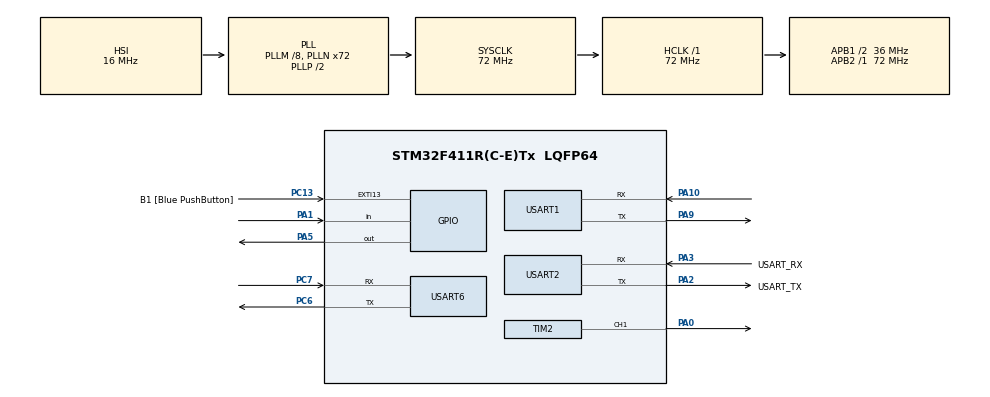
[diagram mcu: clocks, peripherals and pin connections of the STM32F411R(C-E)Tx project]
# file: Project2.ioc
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Mcu.Family=STM32F4
Mcu.Name=STM32F411R(C-E)Tx
Mcu.Package=LQFP64
NVIC.PriorityGroup=NVIC_PRIORITYGROUP_0
PA0-WKUP.Signal=S_TIM2_CH1_ETR
PA1.Signal=GPIO_Input
PA10.Mode=Asynchronous
PA10.Signal=USART1_RX
PA13.GPIO_Label=TMS
PA13.Mode=Serial_Wire
PA13.Signal=SYS_JTMS-SWDIO
PA14.GPIO_Label=TCK
PA14.Mode=Serial_Wire
PA14.Signal=SYS_JTCK-SWCLK
PA2.GPIO_Label=USART_TX
PA2.Mode=Asynchronous
PA2.Signal=USART2_TX
PA3.GPIO_Label=USART_RX
PA3.Mode=Asynchronous
PA3.Signal=USART2_RX
PA5.Signal=GPIO_Output
PA9.Mode=Asynchronous
PA9.Signal=USART1_TX
PB3.GPIO_Label=SWO
PB3.Signal=SYS_JTDO-SWO
PC13-ANTI_TAMP.GPIO_Label=B1 [Blue PushButton]
PC13-ANTI_TAMP.GPIO_ModeDefaultEXTI=GPIO_MODE_IT_FALLING
PC13-ANTI_TAMP.Signal=GPXTI13
PC14-OSC32_IN.Signal=RCC_OSC32_IN
PC15-OSC32_OUT.Signal=RCC_OSC32_OUT
PC6.Mode=Asynchronous
PC6.Signal=USART6_TX
PC7.Mode=Asynchronous
PC7.Signal=USART6_RX
PH0\ -\ OSC_IN.Mode=HSE-External-Oscillator
PH0\ -\ OSC_IN.Signal=RCC_OSC_IN
PH1\ -\ OSC_OUT.Mode=HSE-External-Oscillator
PH1\ -\ OSC_OUT.Signal=RCC_OSC_OUT
ProjectManager.HeapSize=0x200
ProjectManager.StackSize=0x400
ProjectManager.TargetToolchain=STM32CubeIDE
RCC.48MHZClocksFreq_Value=36000000
RCC.AHBFreq_Value=72000000
RCC.APB1CLKDivider=RCC_HCLK_DIV2
RCC.APB1Freq_Value=36000000
RCC.APB1TimFreq_Value=72000000
RCC.APB2Freq_Value=72000000
RCC.APB2TimFreq_Value=72000000
RCC.CortexFreq_Value=72000000
RCC.FLatency-AdvancedSettings=FLASH_LATENCY_2
RCC.HCLKFreq_Value=72000000
RCC.HSE_VALUE=8000000
RCC.HSI_VALUE=16000000
RCC.LSE_VALUE=32768
RCC.PLLM=8
RCC.PLLN=72
RCC.SYSCLKFreq_VALUE=72000000
RCC.SYSCLKSource=RCC_SYSCLKSOURCE_PLLCLK
RCC.VCOOutputFreq_Value=144000000
SH.S_TIM2_CH1_ETR.0=TIM2_CH1,PWM Generation1 CH1
TIM2.Channel-PWM\ Generation1\ CH1=TIM_CHANNEL_1
TIM2.Period=99
TIM2.Prescaler=3599
USART1.VirtualMode=VM_ASYNC
USART2.VirtualMode=VM_ASYNC
USART6.VirtualMode=VM_ASYNC
VP_TIM2_VS_ClockSourceINT.Mode=Internal
board=NUCLEO-F411RE

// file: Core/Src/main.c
/* USER CODE BEGIN Header */
/**
  ******************************************************************************
  * @file           : main.c
  * @brief          : Main program body
  ******************************************************************************
  * @attention
  *
  * <h2><center>&copy; Copyright (c) 2021 STMicroelectronics.
  * All rights reserved.</center></h2>
  *
  * This software component is licensed by ST under BSD 3-Clause license,
  * the "License"; You may not use this file except in compliance with the
  * License. You may obtain a copy of the License at:
  *                        opensource.org/licenses/BSD-3-Clause
  *
  ******************************************************************************
  */
/* USER CODE END Header */
#include "main.h"

TIM_HandleTypeDef htim2;

UART_HandleTypeDef huart1;
UART_HandleTypeDef huart2;
UART_HandleTypeDef huart6;

void SystemClock_Config(void);
static void MX_GPIO_Init(void);
static void MX_USART2_UART_Init(void);
static void MX_TIM2_Init(void);
static void MX_USART1_UART_Init(void);
static void MX_USART6_UART_Init(void);

/* USER CODE BEGIN 0 */
void buzzer_on(void){
	htim2.Instance->CCR1 = 80;
}
void buzzer_off(void){
	htim2.Instance->CCR1 = 0;
}
/* USER CODE END 0 */

int main(void)
{

  /* MCU Configuration--------------------------------------------------------*/

  /* Reset of all peripherals, Initializes the Flash interface and the Systick. */

	HAL_Init();

  /* Configure the system clock */
  SystemClock_Config();

  /* Initialize all configured peripherals */
  MX_GPIO_Init();
  MX_USART2_UART_Init();
  MX_TIM2_Init();
  MX_USART1_UART_Init();
  MX_USART6_UART_Init();
  /* USER CODE BEGIN 2 */
  HAL_TIM_PWM_Start(&htim2, TIM_CHANNEL_1);
  /* USER CODE END 2 */

  /* Infinite loop */
  /* USER CODE BEGIN WHILE */
  int data= 1;
  char output[50];
  char d;
  while (1)
  {
//	  if (HAL_GPIO_ReadPin(GPIOA, GPIO_PIN_1) == 1)
//	  	  {
//	  		  while(HAL_GPIO_ReadPin(GPIOA, GPIO_PIN_1) == 1){
//	  			  HAL_UART_Transmit(&huart2, "H\n\r", 1, 100);
//	  		  	  HAL_Delay(1000);
//	  		  }
//	  	  }else{
//	  		HAL_UART_Transmit(&huart2, "L\n\r", 1, 100);
//	  		HAL_Delay(1000);
//	  	  }
	  //HAL_UART_Transmit(&huart2, 'A', 1, 100);
//	  HAL_UART_Transmit(&huart6, "a", strlen("a"), 100);
	  HAL_Delay(50);
	if (HAL_GPIO_ReadPin(GPIOA, GPIO_PIN_1)){

//		buzzer_on();
		HAL_GPIO_WritePin(GPIOA, GPIO_PIN_5, GPIO_PIN_SET);
		sprintf(output,"%d",data);
		data++;
		HAL_UART_Transmit(&huart6, &output, strlen(output), 100);
		while(HAL_GPIO_ReadPin(GPIOA, GPIO_PIN_1));
		HAL_Delay(10);
	}
	else{
		//buzzer_off();
		HAL_GPIO_WritePin(GPIOA, GPIO_PIN_5, GPIO_PIN_RESET);
		HAL_Delay(10);
	}

    /* USER CODE END WHILE */

  }
}

void SystemClock_Config(void)
{
  RCC_OscInitTypeDef RCC_OscInitStruct = {0};
  RCC_ClkInitTypeDef RCC_ClkInitStruct = {0};

  /** Configure the main internal regulator output voltage
  */
  __HAL_RCC_PWR_CLK_ENABLE();
  __HAL_PWR_VOLTAGESCALING_CONFIG(PWR_REGULATOR_VOLTAGE_SCALE1);
  /** Initializes the RCC Oscillators according to the specified parameters
  * in the RCC_OscInitTypeDef structure.
  */
  RCC_OscInitStruct.OscillatorType = RCC_OSCILLATORTYPE_HSI;
  RCC_OscInitStruct.HSIState = RCC_HSI_ON;
  RCC_OscInitStruct.HSICalibrationValue = RCC_HSICALIBRATION_DEFAULT;
  RCC_OscInitStruct.PLL.PLLState = RCC_PLL_ON;
  RCC_OscInitStruct.PLL.PLLSource = RCC_PLLSOURCE_HSI;
  RCC_OscInitStruct.PLL.PLLM = 8;
  RCC_OscInitStruct.PLL.PLLN = 72;
  RCC_OscInitStruct.PLL.PLLP = RCC_PLLP_DIV2;
  RCC_OscInitStruct.PLL.PLLQ = 4;
  if (HAL_RCC_OscConfig(&RCC_OscInitStruct) != HAL_OK)
  {
    Error_Handler();
  }
  /** Initializes the CPU, AHB and APB buses clocks
  */
  RCC_ClkInitStruct.ClockType = RCC_CLOCKTYPE_HCLK|RCC_CLOCKTYPE_SYSCLK
                              |RCC_CLOCKTYPE_PCLK1|RCC_CLOCKTYPE_PCLK2;
  RCC_ClkInitStruct.SYSCLKSource = RCC_SYSCLKSOURCE_PLLCLK;
  RCC_ClkInitStruct.AHBCLKDivider = RCC_SYSCLK_DIV1;
  RCC_ClkInitStruct.APB1CLKDivider = RCC_HCLK_DIV2;
  RCC_ClkInitStruct.APB2CLKDivider = RCC_HCLK_DIV1;

  if (HAL_RCC_ClockConfig(&RCC_ClkInitStruct, FLASH_LATENCY_2) != HAL_OK)
  {
    Error_Handler();
  }
}

static void MX_TIM2_Init(void)
{

  TIM_ClockConfigTypeDef sClockSourceConfig = {0};
  TIM_MasterConfigTypeDef sMasterConfig = {0};
  TIM_OC_InitTypeDef sConfigOC = {0};

  htim2.Instance = TIM2;
  htim2.Init.Prescaler = 3599;
  htim2.Init.CounterMode = TIM_COUNTERMODE_UP;
  htim2.Init.Period = 99;
  htim2.Init.ClockDivision = TIM_CLOCKDIVISION_DIV1;
  htim2.Init.AutoReloadPreload = TIM_AUTORELOAD_PRELOAD_DISABLE;
  if (HAL_TIM_Base_Init(&htim2) != HAL_OK)
  {
    Error_Handler();
  }
  sClockSourceConfig.ClockSource = TIM_CLOCKSOURCE_INTERNAL;
  if (HAL_TIM_ConfigClockSource(&htim2, &sClockSourceConfig) != HAL_OK)
  {
    Error_Handler();
  }
  if (HAL_TIM_PWM_Init(&htim2) != HAL_OK)
  {
    Error_Handler();
  }
  sMasterConfig.MasterOutputTrigger = TIM_TRGO_RESET;
  sMasterConfig.MasterSlaveMode = TIM_MASTERSLAVEMODE_DISABLE;
  if (HAL_TIMEx_MasterConfigSynchronization(&htim2, &sMasterConfig) != HAL_OK)
  {
    Error_Handler();
  }
  sConfigOC.OCMode = TIM_OCMODE_PWM1;
  sConfigOC.Pulse = 0;
  sConfigOC.OCPolarity = TIM_OCPOLARITY_HIGH;
  sConfigOC.OCFastMode = TIM_OCFAST_DISABLE;
  if (HAL_TIM_PWM_ConfigChannel(&htim2, &sConfigOC, TIM_CHANNEL_1) != HAL_OK)
  {
    Error_Handler();
  }
  HAL_TIM_MspPostInit(&htim2);

}

static void MX_USART1_UART_Init(void)
{

  huart1.Instance = USART1;
  huart1.Init.BaudRate = 115200;
  huart1.Init.WordLength = UART_WORDLENGTH_8B;
  huart1.Init.StopBits = UART_STOPBITS_1;
  huart1.Init.Parity = UART_PARITY_NONE;
  huart1.Init.Mode = UART_MODE_TX_RX;
  huart1.Init.HwFlowCtl = UART_HWCONTROL_NONE;
  huart1.Init.OverSampling = UART_OVERSAMPLING_16;
  if (HAL_UART_Init(&huart1) != HAL_OK)
  {
    Error_Handler();
  }

}

static void MX_USART2_UART_Init(void)
{

  huart2.Instance = USART2;
  huart2.Init.BaudRate = 115200;
  huart2.Init.WordLength = UART_WORDLENGTH_8B;
  huart2.Init.StopBits = UART_STOPBITS_1;
  huart2.Init.Parity = UART_PARITY_NONE;
  huart2.Init.Mode = UART_MODE_TX_RX;
  huart2.Init.HwFlowCtl = UART_HWCONTROL_NONE;
  huart2.Init.OverSampling = UART_OVERSAMPLING_16;
  if (HAL_UART_Init(&huart2) != HAL_OK)
  {
    Error_Handler();
  }

}

static void MX_USART6_UART_Init(void)
{

  huart6.Instance = USART6;
  huart6.Init.BaudRate = 115200;
  huart6.Init.WordLength = UART_WORDLENGTH_8B;
  huart6.Init.StopBits = UART_STOPBITS_1;
  huart6.Init.Parity = UART_PARITY_NONE;
  huart6.Init.Mode = UART_MODE_TX_RX;
  huart6.Init.HwFlowCtl = UART_HWCONTROL_NONE;
  huart6.Init.OverSampling = UART_OVERSAMPLING_16;
  if (HAL_UART_Init(&huart6) != HAL_OK)
  {
    Error_Handler();
  }

}

static void MX_GPIO_Init(void)
{
  GPIO_InitTypeDef GPIO_InitStruct = {0};

  /* GPIO Ports Clock Enable */
  __HAL_RCC_GPIOC_CLK_ENABLE();
  __HAL_RCC_GPIOH_CLK_ENABLE();
  __HAL_RCC_GPIOA_CLK_ENABLE();
  __HAL_RCC_GPIOB_CLK_ENABLE();

  /*Configure GPIO pin Output Level */
  HAL_GPIO_WritePin(GPIOA, GPIO_PIN_5, GPIO_PIN_RESET);

  /*Configure GPIO pin : B1_Pin */
  GPIO_InitStruct.Pin = B1_Pin;
  GPIO_InitStruct.Mode = GPIO_MODE_IT_FALLING;
  GPIO_InitStruct.Pull = GPIO_NOPULL;
  HAL_GPIO_Init(B1_GPIO_Port, &GPIO_InitStruct);

  /*Configure GPIO pin : PA1 */
  GPIO_InitStruct.Pin = GPIO_PIN_1;
  GPIO_InitStruct.Mode = GPIO_MODE_INPUT;
  GPIO_InitStruct.Pull = GPIO_NOPULL;
  HAL_GPIO_Init(GPIOA, &GPIO_InitStruct);

  /*Configure GPIO pin : PA5 */
  GPIO_InitStruct.Pin = GPIO_PIN_5;
  GPIO_InitStruct.Mode = GPIO_MODE_OUTPUT_PP;
  GPIO_InitStruct.Pull = GPIO_NOPULL;
  GPIO_InitStruct.Speed = GPIO_SPEED_FREQ_LOW;
  HAL_GPIO_Init(GPIOA, &GPIO_InitStruct);

}

void Error_Handler(void)
{
  __disable_irq();
  while (1)
  {
  }
}

/************************ (C) COPYRIGHT STMicroelectronics *****END OF FILE****/
